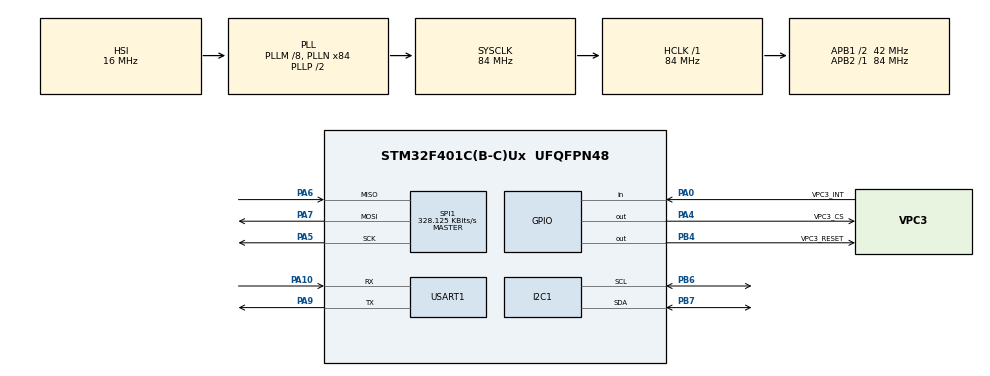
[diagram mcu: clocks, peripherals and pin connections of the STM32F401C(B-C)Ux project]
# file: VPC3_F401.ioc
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Mcu.Family=STM32F4
PC15-OSC32_OUT.Mode=LSE-External-Oscillator
PA6.Mode=Full_Duplex_Master
RCC.CortexFreq_Value=84000000
PA7.Mode=Full_Duplex_Master
NVIC.I2C1_EV_IRQn=true\:0\:0\:false\:false\:true\:true\:true
PA10.Mode=Asynchronous
SPI1.VirtualType=VM_MASTER
PH1\ -\ OSC_OUT.Mode=HSE-External-Clock-Source
RCC.APB1CLKDivider=RCC_HCLK_DIV2
PC14-OSC32_IN.Signal=RCC_OSC32_IN
RCC.SYSCLKSource=RCC_SYSCLKSOURCE_PLLCLK
ProjectManager.StackSize=0x400
PA0-WKUP.GPIO_Label=VPC3_INT
PA0-WKUP.Signal=GPIO_Input
PA13.Signal=SYS_JTMS-SWDIO
PA9.Mode=Asynchronous
PH0\ -\ OSC_IN.Mode=HSE-External-Clock-Source
PA4.PinState=GPIO_PIN_SET
PH0\ -\ OSC_IN.Signal=RCC_OSC_IN
ProjectManager.TargetToolchain=STM32CubeIDE
SPI1.Direction=SPI_DIRECTION_2LINES
RCC.HCLKFreq_Value=84000000
RCC.APB2TimFreq_Value=84000000
PA9.Signal=USART1_TX
PB6.Signal=I2C1_SCL
PB6.Mode=I2C
SPI1.CalculateBaudRate=328.125 KBits/s
PC15-OSC32_OUT.Signal=RCC_OSC32_OUT
RCC.AHBFreq_Value=84000000
PA5.Signal=SPI1_SCK
RCC.HSE_VALUE=25000000
PH1\ -\ OSC_OUT.Signal=RCC_OSC_OUT
board=custom
RCC.VCOOutputFreq_Value=168000000
RCC.APB2Freq_Value=84000000
PC14-OSC32_IN.Mode=LSE-External-Oscillator
PB4.GPIO_Label=VPC3_RESET
SPI1.Mode=SPI_MODE_MASTER
PA14.Mode=Serial_Wire
PB7.Signal=I2C1_SDA
PA13.Mode=Serial_Wire
NVIC.I2C1_ER_IRQn=true\:0\:0\:false\:false\:true\:true\:true
Mcu.Name=STM32F401C(B-C)Ux
I2C1.OwnAddress=0x10
RCC.48MHZClocksFreq_Value=42000000
PA4.Signal=GPIO_Output
RCC.SYSCLKFreq_VALUE=84000000
Mcu.Package=UFQFPN48
PA6.Signal=SPI1_MISO
USART1.VirtualMode=VM_ASYNC
PB7.Mode=I2C
PA10.Signal=USART1_RX
PA14.Signal=SYS_JTCK-SWCLK
ProjectManager.HeapSize=0x200
RCC.HSI_VALUE=16000000
NVIC.PriorityGroup=NVIC_PRIORITYGROUP_4
RCC.PLLM=8
RCC.PLLN=84
RCC.APB1TimFreq_Value=84000000
RCC.APB1Freq_Value=42000000
SPI1.BaudRatePrescaler=SPI_BAUDRATEPRESCALER_256
PB4.PinState=GPIO_PIN_SET
PA4.GPIO_Label=VPC3_CS
PB4.Signal=GPIO_Output
PA5.Mode=Full_Duplex_Master
PA7.Signal=SPI1_MOSI

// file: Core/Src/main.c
/* USER CODE BEGIN Header */
/**
  ******************************************************************************
  * @file           : main.c
  * @brief          : Main program body
  ******************************************************************************
  * @attention
  *
  * <h2><center>&copy; Copyright (c) 2025 STMicroelectronics.
  * All rights reserved.</center></h2>
  *
  * This software component is licensed by ST under BSD 3-Clause license,
  * the "License"; You may not use this file except in compliance with the
  * License. You may obtain a copy of the License at:
  *                        opensource.org/licenses/BSD-3-Clause
  *
  ******************************************************************************
  */
/* USER CODE END Header */
#include "main.h"

/* USER CODE BEGIN Includes */
#include "vpc3.h"
#include <stdbool.h>
#include <stdio.h>
#include <string.h>
/* USER CODE END Includes */

I2C_HandleTypeDef hi2c1;

SPI_HandleTypeDef hspi1;

UART_HandleTypeDef huart1;

/* USER CODE BEGIN PV */
/*******************************************************************************************
	VAR VPC3 - Shadow RAM (CRÍTICO: debe estar en RAM, no en Flash)
*******************************************************************************************/
// Buffer para la memoria sombra del VPC3 (2KB para simular registros del chip)
// NOTA: Este buffer reemplaza la dirección 0x0000 que apuntaba incorrectamente a Flash
uint8_t vpc3_shadow_ram[2048] __attribute__((aligned(4)));

/*******************************************************************************************
	VAR I2C
*******************************************************************************************/
#define I2C_SLAVE_ADDR  (0x10 << 1)
#define RX_BUFFER_SIZE  60
#define TX_BUFFER_SIZE  2
uint8_t i2c_rx_buffer[RX_BUFFER_SIZE];
uint8_t i2c_tx_buffer[TX_BUFFER_SIZE] = {0x0, 0x0}; // Datos a enviar al maestro
uint8_t Impresion_1 = 0;
uint8_t Impresion_2 = 0;
/* USER CODE END PV */

void SystemClock_Config(void);
static void MX_GPIO_Init(void);
static void MX_SPI1_Init(void);
static void MX_I2C1_Init(void);
static void MX_USART1_UART_Init(void);

/* USER CODE BEGIN 0 */
// Cuando el maestro quiere escribir
void HAL_I2C_SlaveRxCpltCallback(I2C_HandleTypeDef *hi2c) {
  // Aquí los datos ya están en i2c_rx_buffer
}

// Cuando el maestro quiere leer
void HAL_I2C_SlaveTxCpltCallback(I2C_HandleTypeDef *hi2c) {
  // Se completó la transmisión de datos
}

// Cuando se detecta la dirección del esclavo (¡IMPORTANTE!)
void HAL_I2C_AddrCallback(I2C_HandleTypeDef *hi2c, uint8_t TransferDirection, uint16_t AddrMatchCode)
{
  if (hi2c->Instance == I2C1)
  {
      if (TransferDirection == I2C_DIRECTION_TRANSMIT)  // Maestro escribirá
      {
          HAL_I2C_Slave_Seq_Receive_IT(hi2c, i2c_rx_buffer, sizeof(i2c_rx_buffer), I2C_FIRST_AND_LAST_FRAME);
      }
      else  // Maestro leerá
      {
          HAL_I2C_Slave_Seq_Transmit_IT(hi2c, i2c_tx_buffer, sizeof(i2c_tx_buffer), I2C_FIRST_AND_LAST_FRAME);
      }
  }
}

// Reinicia la escucha tras cada sesión
void HAL_I2C_ListenCpltCallback(I2C_HandleTypeDef *hi2c)
{
  HAL_I2C_EnableListen_IT(hi2c);  // Importante volver a escuchar
}

/* USER CODE END 0 */

int main(void)
{

  /* MCU Configuration--------------------------------------------------------*/

  /* Reset of all peripherals, Initializes the Flash interface and the Systick. */
  HAL_Init();

  /* Configure the system clock */
  SystemClock_Config();

  /* USER CODE BEGIN SysInit */
  // Habilitar DWT CYCCNT para DelayUs preciso (no interfiere con SysTick/HAL_Delay)
  // Si ya estuviera habilitado, estas líneas no causan efecto adverso.
  CoreDebug->DEMCR |= CoreDebug_DEMCR_TRCENA_Msk;
  DWT->CYCCNT = 0;
  DWT->CTRL |= DWT_CTRL_CYCCNTENA_Msk;
  /* USER CODE END SysInit */

  /* Initialize all configured peripherals */
  MX_GPIO_Init();
  MX_SPI1_Init();
  MX_I2C1_Init();
  MX_USART1_UART_Init();
  /* USER CODE BEGIN 2 */

  // ============================================================================
  // DIAGNÓSTICO DE CLOCK - Verificar que el sistema esté corriendo a 84MHz
  // Si ves caracteres basura, el clock no está configurado correctamente
  // ============================================================================
  {
    char diag_buf[80];
    int n;

    // Pequeña espera para estabilizar el UART
    for(volatile int i = 0; i < 100000; i++);

    // Mensaje de inicio dividido en partes para evitar overflow del buffer
    n = snprintf(diag_buf, sizeof(diag_buf), "\r\n\r\n========================================\r\n");
    HAL_UART_Transmit(&huart1, (uint8_t*)diag_buf, n, 100);

    n = snprintf(diag_buf, sizeof(diag_buf), "[BOOT] STM32F401CC VPC3+ Profibus Slave\r\n");
    HAL_UART_Transmit(&huart1, (uint8_t*)diag_buf, n, 100);

    n = snprintf(diag_buf, sizeof(diag_buf), "========================================\r\n");
    HAL_UART_Transmit(&huart1, (uint8_t*)diag_buf, n, 100);

    n = snprintf(diag_buf, sizeof(diag_buf),
        "[CLK] SystemCoreClock = %lu Hz\r\n", SystemCoreClock);
    HAL_UART_Transmit(&huart1, (uint8_t*)diag_buf, n, 100);

    // Verificar que el clock sea ~84MHz
    if(SystemCoreClock < 80000000 || SystemCoreClock > 88000000) {
      n = snprintf(diag_buf, sizeof(diag_buf),
          "[ERROR] Clock incorrecto! Esperado: 84MHz\r\n");
      HAL_UART_Transmit(&huart1, (uint8_t*)diag_buf, n, 100);
    } else {
      n = snprintf(diag_buf, sizeof(diag_buf),
          "[OK] Clock configurado correctamente\r\n");
      HAL_UART_Transmit(&huart1, (uint8_t*)diag_buf, n, 100);
    }

    // Mostrar fuente del clock
    uint32_t clk_src = __HAL_RCC_GET_SYSCLK_SOURCE();
    const char *src_name = "UNKNOWN";
    if(clk_src == RCC_SYSCLKSOURCE_STATUS_HSI) src_name = "HSI";
    else if(clk_src == RCC_SYSCLKSOURCE_STATUS_HSE) src_name = "HSE";
    else if(clk_src == RCC_SYSCLKSOURCE_STATUS_PLLCLK) src_name = "PLL";

    n = snprintf(diag_buf, sizeof(diag_buf),
        "[CLK] Fuente SYSCLK: %s\r\n", src_name);
    HAL_UART_Transmit(&huart1, (uint8_t*)diag_buf, n, 100);

    // Mostrar APB1 y APB2 clocks
    n = snprintf(diag_buf, sizeof(diag_buf),
        "[CLK] APB1=%lu Hz, APB2=%lu Hz\r\n",
        HAL_RCC_GetPCLK1Freq(), HAL_RCC_GetPCLK2Freq());
    HAL_UART_Transmit(&huart1, (uint8_t*)diag_buf, n, 100);

    n = snprintf(diag_buf, sizeof(diag_buf),
        "========================================\r\n\r\n");
    HAL_UART_Transmit(&huart1, (uint8_t*)diag_buf, n, 100);
  }

  // --- Inicialización VPC3 ---
  HAL_Delay(300);
  DpAppl_SetResetVPC3Channel1();
  HAL_Delay(100); // Esperar que VPC3 se resetee completamente

  {
    char msg[64];
    int n = snprintf(msg, sizeof(msg), "[VPC3] Iniciando inicializacion...\r\n");
    HAL_UART_Transmit(&huart1, (uint8_t*)msg, n, 100);
  }

  DpAppl_ProfibusInit();
  HAL_Delay(200); // Esperar que Profibus se inicialice completamente

  // --- Inicializar datos de Profibus con valores por defecto ---
  // Inicializar datos que el F411 enviará al PLC (pueden ser diferentes de cero)
  sDpAppl.abDpInputData[0] = 0xAA;  // Heartbeat inicial
  sDpAppl.abDpInputData[1] = 0x55;  // Pattern para verificar comunicación
  sDpAppl.abDpInputData[2] = 0x01;  // Status: Inicializado

  // --- Activar escucha I2C ---
  HAL_I2C_EnableListen_IT(&hi2c1);  // �? CR�?TICO: Sin esta línea, I2C no escucha

  /* USER CODE END 2 */

  /* Infinite loop */
  while (1)
  {

    /* USER CODE BEGIN 3 */
    // --- Lógica principal de Profibus (portado del main.c original) ---
	  DpAppl_ProfibusMain();

	  // Log de cambios en datos de Profibus (SIEMPRE mostrar cambios, pero con throttling)
	  static uint8_t prev_outputs[8] = {0xFF, 0xFF, 0xFF, 0xFF, 0xFF, 0xFF, 0xFF, 0xFF};
	  static uint32_t last_log_time = 0;
	  bool changed = false;

	  for(int i = 0; i < 8; i++) {
	      if(sDpAppl.abDpOutputData[i] != prev_outputs[i]) {
	          changed = true;
	          prev_outputs[i] = sDpAppl.abDpOutputData[i];
	      }
	  }

	  // LOG: Mostrar cambios
	  uint32_t current_time = HAL_GetTick();
	  if (changed && (current_time - last_log_time >= 100)) {
	      __disable_irq();
	      char buf[256];
	      int n = snprintf(buf, sizeof(buf),
	          "[PROFIBUS] PLC->F411: [%02X %02X %02X %02X %02X %02X %02X %02X] | F411->PLC: [%02X %02X %02X %02X %02X %02X %02X %02X]\r\n",
	          sDpAppl.abDpOutputData[0], sDpAppl.abDpOutputData[1], sDpAppl.abDpOutputData[2], sDpAppl.abDpOutputData[3],
	          sDpAppl.abDpOutputData[4], sDpAppl.abDpOutputData[5], sDpAppl.abDpOutputData[6], sDpAppl.abDpOutputData[7],
	          sDpAppl.abDpInputData[0], sDpAppl.abDpInputData[1], sDpAppl.abDpInputData[2], sDpAppl.abDpInputData[3],
	          sDpAppl.abDpInputData[4], sDpAppl.abDpInputData[5], sDpAppl.abDpInputData[6], sDpAppl.abDpInputData[7]);

	  HAL_UART_Transmit(&huart1, (uint8_t*)buf, n, 100);
	  __enable_irq();
	  last_log_time = current_time;
	  }

	  // --- Procesamiento de datos I2C (opcional) ---
	  // Los datos I2C ya están en i2c_rx_buffer[] gracias a los callbacks
	  // Aquí puedes leer y procesar los datos recibidos desde el maestro (C_2.0.7)

	  // Ejemplo: leer datos específicos y mostrarlos cada cierto tiempo
	  static uint32_t last_i2c_log = 0;
	  if (current_time - last_i2c_log >= 1000) { // Cada 1 segundo
	      Impresion_1 = i2c_rx_buffer[3];
	      Impresion_2 = i2c_rx_buffer[4];
	      i2c_tx_buffer[1] = sDpAppl.abDpOutputData[0]; // Actualizar dato a enviar al maestro

	      __disable_irq();
	      char i2c_buf[128];
	      int i2c_n = snprintf(i2c_buf, sizeof(i2c_buf),
	          "[I2C] RX[3]=0x%02X (%d), RX[4]=0x%02X (%d) | TX[1]=%d\r\n",
	          i2c_rx_buffer[3], i2c_rx_buffer[3],
	          i2c_rx_buffer[4], i2c_rx_buffer[4],
	          i2c_tx_buffer[1]);
	      HAL_UART_Transmit(&huart1, (uint8_t*)i2c_buf, i2c_n, 100);
	      __enable_irq();
	      last_i2c_log = current_time;
	  }
  }
  /* USER CODE END 3 */
}

void SystemClock_Config(void)
{
  RCC_OscInitTypeDef RCC_OscInitStruct = {0};
  RCC_ClkInitTypeDef RCC_ClkInitStruct = {0};

  /** Configure the main internal regulator output voltage
  */
  __HAL_RCC_PWR_CLK_ENABLE();
  __HAL_PWR_VOLTAGESCALING_CONFIG(PWR_REGULATOR_VOLTAGE_SCALE2);
  /** Initializes the RCC Oscillators according to the specified parameters
  * in the RCC_OscInitTypeDef structure.
  */
  RCC_OscInitStruct.OscillatorType = RCC_OSCILLATORTYPE_HSI;
  RCC_OscInitStruct.HSIState = RCC_HSI_ON;
  RCC_OscInitStruct.HSICalibrationValue = RCC_HSICALIBRATION_DEFAULT;
  RCC_OscInitStruct.PLL.PLLState = RCC_PLL_ON;
  RCC_OscInitStruct.PLL.PLLSource = RCC_PLLSOURCE_HSI;
  RCC_OscInitStruct.PLL.PLLM = 8;
  RCC_OscInitStruct.PLL.PLLN = 84;
  RCC_OscInitStruct.PLL.PLLP = RCC_PLLP_DIV2;
  RCC_OscInitStruct.PLL.PLLQ = 4;
  if (HAL_RCC_OscConfig(&RCC_OscInitStruct) != HAL_OK)
  {
    Error_Handler();
  }
  /** Initializes the CPU, AHB and APB buses clocks
  */
  RCC_ClkInitStruct.ClockType = RCC_CLOCKTYPE_HCLK|RCC_CLOCKTYPE_SYSCLK
                              |RCC_CLOCKTYPE_PCLK1|RCC_CLOCKTYPE_PCLK2;
  RCC_ClkInitStruct.SYSCLKSource = RCC_SYSCLKSOURCE_PLLCLK;
  RCC_ClkInitStruct.AHBCLKDivider = RCC_SYSCLK_DIV1;
  RCC_ClkInitStruct.APB1CLKDivider = RCC_HCLK_DIV2;
  RCC_ClkInitStruct.APB2CLKDivider = RCC_HCLK_DIV1;

  if (HAL_RCC_ClockConfig(&RCC_ClkInitStruct, FLASH_LATENCY_2) != HAL_OK)
  {
    Error_Handler();
  }
}

static void MX_I2C1_Init(void)
{

  hi2c1.Instance = I2C1;
  hi2c1.Init.ClockSpeed = 100000;
  hi2c1.Init.DutyCycle = I2C_DUTYCYCLE_2;
  hi2c1.Init.OwnAddress1 = 32;
  hi2c1.Init.AddressingMode = I2C_ADDRESSINGMODE_7BIT;
  hi2c1.Init.DualAddressMode = I2C_DUALADDRESS_DISABLE;
  hi2c1.Init.OwnAddress2 = 0;
  hi2c1.Init.GeneralCallMode = I2C_GENERALCALL_DISABLE;
  hi2c1.Init.NoStretchMode = I2C_NOSTRETCH_DISABLE;
  if (HAL_I2C_Init(&hi2c1) != HAL_OK)
  {
    Error_Handler();
  }

}

static void MX_SPI1_Init(void)
{

  /* SPI1 parameter configuration*/
  hspi1.Instance = SPI1;
  hspi1.Init.Mode = SPI_MODE_MASTER;
  hspi1.Init.Direction = SPI_DIRECTION_2LINES;
  hspi1.Init.DataSize = SPI_DATASIZE_8BIT;
  hspi1.Init.CLKPolarity = SPI_POLARITY_LOW;
  hspi1.Init.CLKPhase = SPI_PHASE_1EDGE;
  hspi1.Init.NSS = SPI_NSS_SOFT;
  hspi1.Init.BaudRatePrescaler = SPI_BAUDRATEPRESCALER_256;
  hspi1.Init.FirstBit = SPI_FIRSTBIT_MSB;
  hspi1.Init.TIMode = SPI_TIMODE_DISABLE;
  hspi1.Init.CRCCalculation = SPI_CRCCALCULATION_DISABLE;
  hspi1.Init.CRCPolynomial = 10;
  if (HAL_SPI_Init(&hspi1) != HAL_OK)
  {
    Error_Handler();
  }

}

static void MX_USART1_UART_Init(void)
{

  huart1.Instance = USART1;
  huart1.Init.BaudRate = 115200;
  huart1.Init.WordLength = UART_WORDLENGTH_8B;
  huart1.Init.StopBits = UART_STOPBITS_1;
  huart1.Init.Parity = UART_PARITY_NONE;
  huart1.Init.Mode = UART_MODE_TX_RX;
  huart1.Init.HwFlowCtl = UART_HWCONTROL_NONE;
  huart1.Init.OverSampling = UART_OVERSAMPLING_16;
  if (HAL_UART_Init(&huart1) != HAL_OK)
  {
    Error_Handler();
  }

}

static void MX_GPIO_Init(void)
{
  GPIO_InitTypeDef GPIO_InitStruct = {0};

  /* GPIO Ports Clock Enable */
  __HAL_RCC_GPIOC_CLK_ENABLE();
  __HAL_RCC_GPIOH_CLK_ENABLE();
  __HAL_RCC_GPIOA_CLK_ENABLE();
  __HAL_RCC_GPIOB_CLK_ENABLE();

  /*Configure GPIO pin Output Level */
  HAL_GPIO_WritePin(VPC3_CS_GPIO_Port, VPC3_CS_Pin, GPIO_PIN_SET);

  /*Configure GPIO pin Output Level */
  HAL_GPIO_WritePin(VPC3_RESET_GPIO_Port, VPC3_RESET_Pin, GPIO_PIN_SET);

  /*Configure GPIO pin : VPC3_INT_Pin */
  GPIO_InitStruct.Pin = VPC3_INT_Pin;
  GPIO_InitStruct.Mode = GPIO_MODE_INPUT;
  GPIO_InitStruct.Pull = GPIO_NOPULL;
  HAL_GPIO_Init(VPC3_INT_GPIO_Port, &GPIO_InitStruct);

  /*Configure GPIO pin : VPC3_CS_Pin */
  GPIO_InitStruct.Pin = VPC3_CS_Pin;
  GPIO_InitStruct.Mode = GPIO_MODE_OUTPUT_PP;
  GPIO_InitStruct.Pull = GPIO_NOPULL;
  GPIO_InitStruct.Speed = GPIO_SPEED_FREQ_LOW;
  HAL_GPIO_Init(VPC3_CS_GPIO_Port, &GPIO_InitStruct);

  /*Configure GPIO pin : VPC3_RESET_Pin */
  GPIO_InitStruct.Pin = VPC3_RESET_Pin;
  GPIO_InitStruct.Mode = GPIO_MODE_OUTPUT_PP;
  GPIO_InitStruct.Pull = GPIO_NOPULL;
  GPIO_InitStruct.Speed = GPIO_SPEED_FREQ_LOW;
  HAL_GPIO_Init(VPC3_RESET_GPIO_Port, &GPIO_InitStruct);

}

void Error_Handler(void)
{
  __disable_irq();
  while (1)
  {
  }
}

/************************ (C) COPYRIGHT STMicroelectronics *****END OF FILE****/
